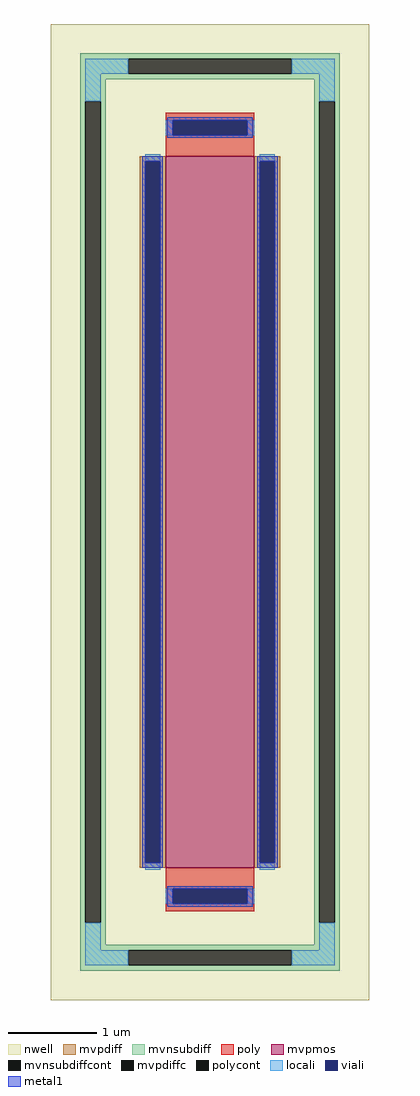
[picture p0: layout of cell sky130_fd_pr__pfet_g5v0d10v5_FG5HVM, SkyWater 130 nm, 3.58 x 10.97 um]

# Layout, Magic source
magic
tech sky130A
magscale 1 2
<< nwell >>
rect -358 -1097 358 1097
<< mvpmos >>
rect -100 -800 100 800
<< mvpdiff >>
rect -158 788 -100 800
rect -158 -788 -146 788
rect -112 -788 -100 788
rect -158 -800 -100 -788
rect 100 788 158 800
rect 100 -788 112 788
rect 146 -788 158 788
rect 100 -800 158 -788
<< mvpdiffc >>
rect -146 -788 -112 788
rect 112 -788 146 788
<< mvnsubdiff >>
rect -292 1019 292 1031
rect -292 985 -184 1019
rect 184 985 292 1019
rect -292 973 292 985
rect -292 923 -234 973
rect -292 -923 -280 923
rect -246 -923 -234 923
rect 234 923 292 973
rect -292 -973 -234 -923
rect 234 -923 246 923
rect 280 -923 292 923
rect 234 -973 292 -923
rect -292 -985 292 -973
rect -292 -1019 -184 -985
rect 184 -1019 292 -985
rect -292 -1031 292 -1019
<< mvnsubdiffcont >>
rect -184 985 184 1019
rect -280 -923 -246 923
rect 246 -923 280 923
rect -184 -1019 184 -985
<< poly >>
rect -100 881 100 897
rect -100 847 -84 881
rect 84 847 100 881
rect -100 800 100 847
rect -100 -847 100 -800
rect -100 -881 -84 -847
rect 84 -881 100 -847
rect -100 -897 100 -881
<< polycont >>
rect -84 847 84 881
rect -84 -881 84 -847
<< locali >>
rect -280 985 -184 1019
rect 184 985 280 1019
rect -280 923 -246 985
rect 246 923 280 985
rect -100 847 -84 881
rect 84 847 100 881
rect -146 788 -112 804
rect -146 -804 -112 -788
rect 112 788 146 804
rect 112 -804 146 -788
rect -100 -881 -84 -847
rect 84 -881 100 -847
rect -280 -985 -246 -923
rect 246 -985 280 -923
rect -280 -1019 -184 -985
rect 184 -1019 280 -985
<< viali >>
rect -84 847 84 881
rect -146 -788 -112 788
rect 112 -788 146 788
rect -84 -881 84 -847
<< metal1 >>
rect -96 881 96 887
rect -96 847 -84 881
rect 84 847 96 881
rect -96 841 96 847
rect -152 788 -106 800
rect -152 -788 -146 788
rect -112 -788 -106 788
rect -152 -800 -106 -788
rect 106 788 152 800
rect 106 -788 112 788
rect 146 -788 152 788
rect 106 -800 152 -788
rect -96 -847 96 -841
rect -96 -881 -84 -847
rect 84 -881 96 -847
rect -96 -887 96 -881
<< properties >>
string FIXED_BBOX -263 -1002 263 1002
string gencell sky130_fd_pr__pfet_g5v0d10v5
string library sky130
string parameters w 8.0 l 1.0 m 1 nf 1 diffcov 100 polycov 100 guard 1 glc 1 grc 1 gtc 1 gbc 1 tbcov 100 rlcov 100 topc 1 botc 1 poverlap 0 doverlap 1 lmin 0.50 wmin 0.42 compatible {sky130_fd_pr__pfet_01v8  sky130_fd_pr__pfet_01v8_lvt sky130_fd_pr__pfet_01v8_hvt  sky130_fd_pr__pfet_g5v0d10v5} full_metal 1 viasrc 100 viadrn 100 viagate 100 viagb 0 viagr 0 viagl 0 viagt 0
<< end >>
